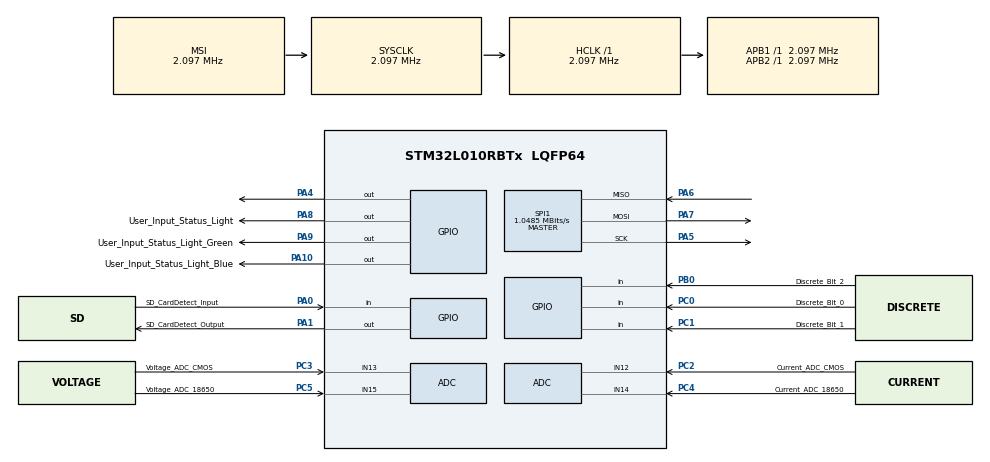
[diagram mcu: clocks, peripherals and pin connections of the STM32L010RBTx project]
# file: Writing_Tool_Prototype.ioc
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ADC.ClockPrescaler=ADC_CLOCK_SYNC_PCLK_DIV4
FATFS._MAX_SS=4096
FATFS._USE_LFN=1
Mcu.Family=STM32L0
Mcu.Name=STM32L010RBTx
Mcu.Package=LQFP64
PA0.GPIO_Label=SD_CardDetect_Input
PA0.Signal=GPIO_Input
PA1.GPIO_Label=SD_CardDetect_Output
PA1.Signal=GPIO_Output
PA10.GPIO_Label=User_Input_Status_Light_Blue
PA10.Signal=GPIO_Output
PA4.Signal=GPIO_Output
PA5.Mode=Full_Duplex_Master
PA5.Signal=SPI1_SCK
PA6.Mode=Full_Duplex_Master
PA6.Signal=SPI1_MISO
PA7.Mode=Full_Duplex_Master
PA7.Signal=SPI1_MOSI
PA8.GPIO_Label=User_Input_Status_Light
PA8.Signal=GPIO_Output
PA9.GPIO_Label=User_Input_Status_Light_Green
PA9.Signal=GPIO_Output
PB0.GPIO_Label=Discrete_Bit_2
PB0.Signal=GPIO_Input
PC0.GPIO_Label=Discrete_Bit_0
PC0.Signal=GPIO_Input
PC1.GPIO_Label=Discrete_Bit_1
PC1.Signal=GPIO_Input
PC2.GPIO_Label=Current_ADC_CMOS
PC2.Mode=IN12
PC2.Signal=ADC_IN12
PC3.GPIO_Label=Voltage_ADC_CMOS
PC3.Mode=IN13
PC3.Signal=ADC_IN13
PC4.GPIO_Label=Current_ADC_18650
PC4.Mode=IN14
PC4.Signal=ADC_IN14
PC5.GPIO_Label=Voltage_ADC_18650
PC5.Mode=IN15
PC5.Signal=ADC_IN15
ProjectManager.HeapSize=0x200
ProjectManager.StackSize=0x400
ProjectManager.TargetToolchain=STM32CubeIDE
RCC.AHBFreq_Value=2097000
RCC.APB1Freq_Value=2097000
RCC.APB1TimFreq_Value=2097000
RCC.APB2Freq_Value=2097000
RCC.APB2TimFreq_Value=2097000
RCC.HSE_VALUE=8000000
RCC.HSI16_VALUE=16000000
RCC.HSI_VALUE=16000000
RCC.LSE_VALUE=32768
RCC.MSI_VALUE=2097000
RCC.SYSCLKFreq_VALUE=2097000
RCC.VCOOutputFreq_Value=48000000
SPI1.CalculateBaudRate=1.0485 MBits/s
SPI1.Direction=SPI_DIRECTION_2LINES
SPI1.Mode=SPI_MODE_MASTER
SPI1.VirtualType=VM_MASTER
VP_FATFS_VS_Generic.Mode=User_defined
board=custom

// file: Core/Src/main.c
/* USER CODE BEGIN Header */
/**
  ******************************************************************************
  * @file           : main.c
  * @brief          : Main program body
  ******************************************************************************
  * @attention
  *
  * Copyright (c) 2023 STMicroelectronics.
  * All rights reserved.
  *
  * This software is licensed under terms that can be found in the LICENSE file
  * in the root directory of this software component.
  * If no LICENSE file comes with this software, it is provided AS-IS.
  *
  ******************************************************************************
  */
/* USER CODE END Header */
#include "main.h"
#include "fatfs.h"

/* USER CODE BEGIN Includes */
#include <stdio.h>
#include <string.h>
#include <stdbool.h>
/* USER CODE END Includes */

ADC_HandleTypeDef hadc;

SPI_HandleTypeDef hspi1;

void SystemClock_Config(void);
static void MX_GPIO_Init(void);
static void MX_SPI1_Init(void);
static void MX_ADC_Init(void);
/* USER CODE BEGIN PFP */
float Calculate_Continuous_Average(float sum_voltages, int number_of_voltages);
float Measurement_of_ADC_Voltage_18650();
float Measurement_of_ADC_Voltage_CMOS();
void Measurement_of_ADC_Current_CMOS();
void Measurement_of_ADC_Current_18650();
//void Continuous_Same_State_Average();
void process_SD_card(void);
void ADC_Select_Voltage18650(void);
void ADC_Select_VoltageCMOS(void);
void ADC_Select_Current18650(void);
void ADC_Select_CurrentCMOS(void);
void readNumber();

float V_18650 = 0.0f;
float V_CMOS = 0.0f;
float V_50gain= 0.0f;
float V_25gain = 0.0f;
float C_CMOS = 0.0f;
float C_18650 = 0.0f;
float Continuous_Average = 0.0f;
int i,j;
unsigned int Switch_State = 0;
float seconds_since_start = 0.0f;
uint32_t start_time_ms = 0;
float valueToAdjust = 0; // Integer value to be adjusted
int current_State = 0;
int previous_State = 0;

/* USER CODE END PFP */

/* USER CODE BEGIN 0 */
//typedef enum { State_CMOS, State_18650 } StateMachine; //State 0 = State_CMOS State 1 = State_18650
//StateMachine state = State_CMOS;
/* USER CODE END 0 */

int main(void)
{

  /* MCU Configuration--------------------------------------------------------*/

  /* Reset of all peripherals, Initializes the Flash interface and the Systick. */
  HAL_Init();

  /* Configure the system clock */
  SystemClock_Config();

  /* Initialize all configured peripherals */
  MX_GPIO_Init();
  MX_SPI1_Init();
  MX_FATFS_Init();
  MX_ADC_Init();
  /* USER CODE BEGIN 2 */
  start_time_ms = HAL_GetTick();
  /* USER CODE END 2 */

  /* Infinite loop */
  /* USER CODE BEGIN WHILE */
  while (1)
  {

	  if (HAL_GPIO_ReadPin(SD_CardDetect_Input_GPIO_Port, SD_CardDetect_Input_Pin) == GPIO_PIN_SET)
	 		  {
	 			  HAL_GPIO_WritePin(SD_CardDetect_Output_GPIO_Port, SD_CardDetect_Output_Pin, GPIO_PIN_SET);
	 			  uint32_t current_time_ms = HAL_GetTick();
	 			  seconds_since_start = (current_time_ms - start_time_ms) / 1000.0f;
	 			  process_SD_card();

//	 			 if (HAL_GPIO_ReadPin(GPIOC, Discrete_Bit_0_Pin))
//	 			 		{
//	 			 			HAL_GPIO_WritePin(User_Input_Status_Light_GPIO_Port, User_Input_Status_Light_Pin, GPIO_PIN_SET);
//	 			 		}
	 			readNumber();
//	 			if (valueToAdjust == 7)
//	 			{
//	 				//HAL_GPIO_WritePin(User_Input_Status_Light_GPIO_Port, User_Input_Status_Light_Pin, GPIO_PIN_SET);
//	 			}
//	 			else if(valueToAdjust != 20)
//	 			HAL_GPIO_WritePin(User_Input_Status_Light_GPIO_Port, User_Input_Status_Light_Pin, GPIO_PIN_RESET);
	 		  }
	 		  else
	 		  {
	 			  HAL_GPIO_WritePin(SD_CardDetect_Output_GPIO_Port, SD_CardDetect_Output_Pin, GPIO_PIN_RESET);

	 	  }
//	  if (state == State_CMOS) {
//	 	              // if(Voltage_Current_Read)
//	 		  	 	 if(C_CMOS >= 0.03) //threshold
//	 		  	 		 state = State_18650;  // 18650 Mode >= 20mA //1
//	 	          } else if(state == State_18650){
//	 	        	  if(C_18650 <= .01) //threshold
//	 	              state = State_CMOS;  // Cmos Mode > //2
//	 	          }
//
//	 	  else {
////	 		  HAL_GPIO_WritePin(SD_CardDetect_Output_GPIO_Port, SD_CardDetect_Output_Pin, GPIO_PIN_RESET);
////	 		  HAL_GPIO_WritePin(Load_Switch_18650_GPIO_Port, Load_Switch_18650_Pin, GPIO_PIN_RESET);
////	 		  HAL_GPIO_WritePin(Load_Switch_CMOS_GPIO_Port, Load_Switch_CMOS_Pin, GPIO_PIN_RESET);
////	 		  Error_Handler();
//
//	 	  }
//	 	  switch (state) {
//	 	              case State_CMOS: {  //0
//	 	            	  Switch_State = 0;
//	 	                  break;
//	 	              }
//	 	              case State_18650: { //1
//	 	            	  Switch_State = 1;
//	 	                  break;
//	 	              }
//	 	          }

    /* USER CODE END WHILE */

  }
}

void SystemClock_Config(void)
{
  RCC_OscInitTypeDef RCC_OscInitStruct = {0};
  RCC_ClkInitTypeDef RCC_ClkInitStruct = {0};

  /** Configure the main internal regulator output voltage
  */
  __HAL_PWR_VOLTAGESCALING_CONFIG(PWR_REGULATOR_VOLTAGE_SCALE1);

  /** Initializes the RCC Oscillators according to the specified parameters
  * in the RCC_OscInitTypeDef structure.
  */
  RCC_OscInitStruct.OscillatorType = RCC_OSCILLATORTYPE_MSI;
  RCC_OscInitStruct.MSIState = RCC_MSI_ON;
  RCC_OscInitStruct.MSICalibrationValue = 0;
  RCC_OscInitStruct.MSIClockRange = RCC_MSIRANGE_5;
  RCC_OscInitStruct.PLL.PLLState = RCC_PLL_NONE;
  if (HAL_RCC_OscConfig(&RCC_OscInitStruct) != HAL_OK)
  {
    Error_Handler();
  }

  /** Initializes the CPU, AHB and APB buses clocks
  */
  RCC_ClkInitStruct.ClockType = RCC_CLOCKTYPE_HCLK|RCC_CLOCKTYPE_SYSCLK
                              |RCC_CLOCKTYPE_PCLK1|RCC_CLOCKTYPE_PCLK2;
  RCC_ClkInitStruct.SYSCLKSource = RCC_SYSCLKSOURCE_MSI;
  RCC_ClkInitStruct.AHBCLKDivider = RCC_SYSCLK_DIV1;
  RCC_ClkInitStruct.APB1CLKDivider = RCC_HCLK_DIV1;
  RCC_ClkInitStruct.APB2CLKDivider = RCC_HCLK_DIV1;

  if (HAL_RCC_ClockConfig(&RCC_ClkInitStruct, FLASH_LATENCY_0) != HAL_OK)
  {
    Error_Handler();
  }
}

static void MX_ADC_Init(void)
{

  ADC_ChannelConfTypeDef sConfig = {0};

  /** Configure the global features of the ADC (Clock, Resolution, Data Alignment and number of conversion)
  */
  hadc.Instance = ADC1;
  hadc.Init.OversamplingMode = DISABLE;
  hadc.Init.ClockPrescaler = ADC_CLOCK_SYNC_PCLK_DIV4;
  hadc.Init.Resolution = ADC_RESOLUTION_12B;
  hadc.Init.SamplingTime = ADC_SAMPLETIME_1CYCLE_5;
  hadc.Init.ScanConvMode = ADC_SCAN_DIRECTION_FORWARD;
  hadc.Init.DataAlign = ADC_DATAALIGN_RIGHT;
  hadc.Init.ContinuousConvMode = DISABLE;
  hadc.Init.DiscontinuousConvMode = DISABLE;
  hadc.Init.ExternalTrigConvEdge = ADC_EXTERNALTRIGCONVEDGE_NONE;
  hadc.Init.ExternalTrigConv = ADC_SOFTWARE_START;
  hadc.Init.DMAContinuousRequests = DISABLE;
  hadc.Init.EOCSelection = ADC_EOC_SINGLE_CONV;
  hadc.Init.Overrun = ADC_OVR_DATA_PRESERVED;
  hadc.Init.LowPowerAutoWait = DISABLE;
  hadc.Init.LowPowerFrequencyMode = ENABLE;
  hadc.Init.LowPowerAutoPowerOff = DISABLE;
  if (HAL_ADC_Init(&hadc) != HAL_OK)
  {
    Error_Handler();
  }

  /** Configure for the selected ADC regular channel to be converted.
  */
  sConfig.Channel = ADC_CHANNEL_12;
  sConfig.Rank = ADC_RANK_CHANNEL_NUMBER;
  if (HAL_ADC_ConfigChannel(&hadc, &sConfig) != HAL_OK)
  {
    Error_Handler();
  }

  /** Configure for the selected ADC regular channel to be converted.
  */
  sConfig.Channel = ADC_CHANNEL_13;
  if (HAL_ADC_ConfigChannel(&hadc, &sConfig) != HAL_OK)
  {
    Error_Handler();
  }

  /** Configure for the selected ADC regular channel to be converted.
  */
  sConfig.Channel = ADC_CHANNEL_14;
  if (HAL_ADC_ConfigChannel(&hadc, &sConfig) != HAL_OK)
  {
    Error_Handler();
  }

  /** Configure for the selected ADC regular channel to be converted.
  */
  sConfig.Channel = ADC_CHANNEL_15;
  if (HAL_ADC_ConfigChannel(&hadc, &sConfig) != HAL_OK)
  {
    Error_Handler();
  }

}

static void MX_SPI1_Init(void)
{

  /* SPI1 parameter configuration*/
  hspi1.Instance = SPI1;
  hspi1.Init.Mode = SPI_MODE_MASTER;
  hspi1.Init.Direction = SPI_DIRECTION_2LINES;
  hspi1.Init.DataSize = SPI_DATASIZE_8BIT;
  hspi1.Init.CLKPolarity = SPI_POLARITY_LOW;
  hspi1.Init.CLKPhase = SPI_PHASE_1EDGE;
  hspi1.Init.NSS = SPI_NSS_SOFT;
  hspi1.Init.BaudRatePrescaler = SPI_BAUDRATEPRESCALER_2;
  hspi1.Init.FirstBit = SPI_FIRSTBIT_MSB;
  hspi1.Init.TIMode = SPI_TIMODE_DISABLE;
  hspi1.Init.CRCCalculation = SPI_CRCCALCULATION_DISABLE;
  hspi1.Init.CRCPolynomial = 7;
  if (HAL_SPI_Init(&hspi1) != HAL_OK)
  {
    Error_Handler();
  }

}

static void MX_GPIO_Init(void)
{
  GPIO_InitTypeDef GPIO_InitStruct = {0};

  /* GPIO Ports Clock Enable */
  __HAL_RCC_GPIOC_CLK_ENABLE();
  __HAL_RCC_GPIOA_CLK_ENABLE();
  __HAL_RCC_GPIOB_CLK_ENABLE();

  /*Configure GPIO pin Output Level */
  HAL_GPIO_WritePin(GPIOA, SD_CardDetect_Output_Pin|GPIO_PIN_4|User_Input_Status_Light_Pin|User_Input_Status_Light_Green_Pin
                          |User_Input_Status_Light_Blue_Pin, GPIO_PIN_RESET);

  /*Configure GPIO pins : Discrete_Bit_0_Pin Discrete_Bit_1_Pin */
  GPIO_InitStruct.Pin = Discrete_Bit_0_Pin|Discrete_Bit_1_Pin;
  GPIO_InitStruct.Mode = GPIO_MODE_INPUT;
  GPIO_InitStruct.Pull = GPIO_NOPULL;
  HAL_GPIO_Init(GPIOC, &GPIO_InitStruct);

  /*Configure GPIO pin : SD_CardDetect_Input_Pin */
  GPIO_InitStruct.Pin = SD_CardDetect_Input_Pin;
  GPIO_InitStruct.Mode = GPIO_MODE_INPUT;
  GPIO_InitStruct.Pull = GPIO_NOPULL;
  HAL_GPIO_Init(SD_CardDetect_Input_GPIO_Port, &GPIO_InitStruct);

  /*Configure GPIO pins : SD_CardDetect_Output_Pin PA4 User_Input_Status_Light_Pin User_Input_Status_Light_Green_Pin
                           User_Input_Status_Light_Blue_Pin */
  GPIO_InitStruct.Pin = SD_CardDetect_Output_Pin|GPIO_PIN_4|User_Input_Status_Light_Pin|User_Input_Status_Light_Green_Pin
                          |User_Input_Status_Light_Blue_Pin;
  GPIO_InitStruct.Mode = GPIO_MODE_OUTPUT_PP;
  GPIO_InitStruct.Pull = GPIO_NOPULL;
  GPIO_InitStruct.Speed = GPIO_SPEED_FREQ_LOW;
  HAL_GPIO_Init(GPIOA, &GPIO_InitStruct);

  /*Configure GPIO pin : Discrete_Bit_2_Pin */
  GPIO_InitStruct.Pin = Discrete_Bit_2_Pin;
  GPIO_InitStruct.Mode = GPIO_MODE_INPUT;
  GPIO_InitStruct.Pull = GPIO_NOPULL;
  HAL_GPIO_Init(Discrete_Bit_2_GPIO_Port, &GPIO_InitStruct);

}

/* USER CODE BEGIN 4 */
#ifdef __GNUC__
  /* With GCC, small printf (option LD Linker->Libraries->Small printf
     set to 'Yes') calls __io_putchar() */
int __io_putchar(int ch)
#else
int fputc(int ch, FILE *f)
#endif /* __GNUC__ */
{
  /* Place your implementation of fputc here */
  /* e.g. write a character to the UART3 and Loop until the end of transmission */
  //HAL_UART_Transmit(&huart2, (uint8_t *)&ch, 1, HAL_MAX_DELAY);
  return ch;
}

void process_SD_card( void )
{
  FATFS       FatFs;                //Fatfs handle
  FIL         fil;                  //File handle
  FRESULT     fres;                 //Result after operations

//Testing Buff Sizes are maybe larger than they need to be currently *CHANGE LATER*
  char buf[1];
  char res_18650[7];
  char res_C18650[7];
  char res_CCMOS[9];
  char res_CMOS[7];
  char res_time[32];
  char res_SwitchState[7];

  do
  {
    //Mount the SD Card
    fres = f_mount(&FatFs, "", 1);    //1=mount now
    if (fres != FR_OK)
    {
      //printf("No SD Card found : (%i)\r\n", fres);
      break;
    }
    //Open the file
    fres = f_open(&fil, "TestingReadings.csv", FA_WRITE | FA_READ | FA_OPEN_APPEND);
    if(fres != FR_OK)
    {
      //printf("File creation/open Error : (%i)\r\n", fres);
      break;
    }
    //printf("Writing data!!!\r\n");
    //write the data

    //Write the Time for each write
    sprintf(res_time,"%.3f,", valueToAdjust); //Position A //seconds since start, changed for testing
    f_puts(res_time, &fil);

    //Write the 18650 Voltage Readings
    sprintf(res_18650, "%.3f,", Continuous_Average); //Position B
    f_puts(res_18650, &fil);

    //Write the 18650 Current Readings
    sprintf(res_C18650, "%.3f,", C_18650); //Position C
    f_puts(res_C18650, &fil);

    //Write the CMOS Voltage Readings
    sprintf(res_CMOS, "%.3f,", V_CMOS); //Position D
    f_puts(res_CMOS,&fil);

    //Write the CMOS Current Readings
    sprintf(res_CCMOS, "%.3f,", C_CMOS); //Position E
    f_puts(res_CCMOS, &fil);

    //Writes the Switch State, 0 = State_CMOS / 1 = State_18650
    sprintf(res_SwitchState,"%u, \n", Switch_State); //Position F
    f_puts(res_SwitchState, &fil);

    //close your file
    f_close(&fil);
    //Open the file
    //read the data
    f_gets(buf, sizeof(buf), &fil);
    //printf("Read Data : %s\n", buf);
    //close your file
    f_close(&fil);
    //printf("Closing File!!!\r\n");
#if 0
    //Delete the file.
    fres = f_unlink(Readings.txt);
    if (fres != FR_OK)
    {
      //printf("Cannot able to delete the file\n");
    }
#endif
  } while(0);
  //We're done, so de-mount the drive
  f_mount(NULL, "", 0);
}

float Measurement_of_ADC_Voltage_18650(){
	float V_ref = 3.3;  // This is known for each micro controller from data
		// sheet, V_ref = power supply in
		float ADC_resolution = (4096 - 1);  // 2^12 - 1
		float V_stepSize = V_ref / ADC_resolution;
		// ADC
	    /* Start ADC Conversion for ADC1 */
	    ADC_Select_Voltage18650();
	    HAL_ADC_Start(&hadc);
	    uint16_t rawValue1;
	       if (HAL_ADC_PollForConversion(&hadc, HAL_MAX_DELAY) == HAL_OK) {
	           /* Read the ADC1 value */
	           rawValue1 = HAL_ADC_GetValue(&hadc);
	       }
	    HAL_ADC_Stop(&hadc);
	    return V_18650 = rawValue1 * V_stepSize;
}
float Measurement_of_ADC_Voltage_CMOS(){
	float V_ref = 3.3;  // This is known for each micro controller from data
		// sheet, V_ref = power supply in
		float ADC_resolution = (4096 - 1);  // 2^12 - 1
		float V_stepSize = V_ref / ADC_resolution;
		// ADC
	    /* Start ADC Conversion for ADC1 */
	    ADC_Select_VoltageCMOS();
	    HAL_ADC_Start(&hadc);
	    uint16_t rawValue1;
	       if (HAL_ADC_PollForConversion(&hadc, HAL_MAX_DELAY) == HAL_OK) {
	           /* Read the ADC1 value */
	           rawValue1 = HAL_ADC_GetValue(&hadc);
	       }
	    HAL_ADC_Stop(&hadc);
	    return V_CMOS = rawValue1 * V_stepSize;
}

void Measurement_of_ADC_Current_18650(){
	float V_ref = 3.3;  // This is known for each micro controller from data
		// sheet, V_ref = power supply in
		float ADC_resolution = (4096 - 1);  // 2^12 - 1
		float V_stepSize = V_ref / ADC_resolution;
		// ADC
	    /* Start ADC Conversion for ADC1 */
	    ADC_Select_Voltage18650();
	    HAL_ADC_Start(&hadc);
	    uint16_t rawValue1;
	       if (HAL_ADC_PollForConversion(&hadc, HAL_MAX_DELAY) == HAL_OK) {
	           /* Read the ADC1 value */
	           rawValue1 = HAL_ADC_GetValue(&hadc);
	           C_18650 = (((rawValue1 * V_stepSize)/50)/.0299562); //I_load = ((V_ADC / 50 gain) / .03 calibrated shunt)
	       }
	    HAL_ADC_Stop(&hadc);
}

void Measurement_of_ADC_Current_CMOS(){
	float V_ref = 3.3;  // This is known for each micro controller from data
		// sheet, V_ref = power supply in
		float ADC_resolution = (4096 - 1);  // 2^12 - 1
		float V_stepSize = V_ref / ADC_resolution;
		// ADC
	    /* Start ADC Conversion for ADC1 */
	    ADC_Select_Voltage18650();
	    HAL_ADC_Start(&hadc);
	    uint16_t rawValue1;
	       if (HAL_ADC_PollForConversion(&hadc, HAL_MAX_DELAY) == HAL_OK) {
	           /* Read the ADC1 value */
	           rawValue1 = HAL_ADC_GetValue(&hadc);
	           C_CMOS = (((rawValue1 * V_stepSize)/20)/4.713492); // I_load = (( V_ADC / 20 Gain ) / 4.71 calibrated shunt )
	       }
	    HAL_ADC_Stop(&hadc);
}

void ADC_Select_Voltage18650(void){
ADC_ChannelConfTypeDef sConfig = {0};
sConfig.Channel = ADC_CHANNEL_15;
sConfig.Rank = ADC_RANK_CHANNEL_NUMBER;
if (HAL_ADC_ConfigChannel(&hadc, &sConfig) != HAL_OK)
{
  Error_Handler();
}
}

void ADC_Select_VoltageCMOS(void){
ADC_ChannelConfTypeDef sConfig = {0};
sConfig.Channel = ADC_CHANNEL_13;
sConfig.Rank = ADC_RANK_CHANNEL_NUMBER;
if (HAL_ADC_ConfigChannel(&hadc, &sConfig) != HAL_OK)
{
Error_Handler();
}

}

void ADC_Select_Current18650(void){
ADC_ChannelConfTypeDef sConfig = {0};
sConfig.Channel = ADC_CHANNEL_14;
sConfig.Rank = ADC_RANK_CHANNEL_NUMBER;
if (HAL_ADC_ConfigChannel(&hadc, &sConfig) != HAL_OK)
{
	    Error_Handler();
}
}

void ADC_Select_CurrentCMOS(void){
ADC_ChannelConfTypeDef sConfig = {0};
sConfig.Channel = ADC_CHANNEL_12;
sConfig.Rank = ADC_RANK_CHANNEL_NUMBER;
if (HAL_ADC_ConfigChannel(&hadc, &sConfig) != HAL_OK)
{
Error_Handler();
}

}

void readNumber() {

	if (HAL_GPIO_ReadPin(GPIOC, Discrete_Bit_0_Pin) == 1 &&
		HAL_GPIO_ReadPin(GPIOC, Discrete_Bit_1_Pin) == 0 &&
		HAL_GPIO_ReadPin(GPIOB, Discrete_Bit_2_Pin) == 0 ) {
		HAL_Delay(5);
		valueToAdjust = 1;
		// Set Red
		HAL_GPIO_WritePin(User_Input_Status_Light_GPIO_Port, User_Input_Status_Light_Pin, GPIO_PIN_SET);
		HAL_GPIO_WritePin(User_Input_Status_Light_Green_GPIO_Port, User_Input_Status_Light_Green_Pin, GPIO_PIN_RESET);
		HAL_GPIO_WritePin(User_Input_Status_Light_Blue_GPIO_Port, User_Input_Status_Light_Blue_Pin, GPIO_PIN_RESET);

	}
	if (HAL_GPIO_ReadPin(GPIOC, Discrete_Bit_0_Pin) == 0 &&
		HAL_GPIO_ReadPin(GPIOC, Discrete_Bit_1_Pin) == 1 &&
		HAL_GPIO_ReadPin(GPIOB, Discrete_Bit_2_Pin) == 0 ) {
		HAL_Delay(5);
		valueToAdjust = 2;
		// Set Yellow
		HAL_GPIO_WritePin(User_Input_Status_Light_GPIO_Port, User_Input_Status_Light_Pin, GPIO_PIN_SET);
		HAL_GPIO_WritePin(User_Input_Status_Light_Green_GPIO_Port, User_Input_Status_Light_Green_Pin, GPIO_PIN_SET);
		HAL_GPIO_WritePin(User_Input_Status_Light_Blue_GPIO_Port, User_Input_Status_Light_Blue_Pin, GPIO_PIN_RESET);

	}
	if (HAL_GPIO_ReadPin(GPIOC, Discrete_Bit_0_Pin) == 1 &&
			HAL_GPIO_ReadPin(GPIOC, Discrete_Bit_1_Pin) == 1 &&
			HAL_GPIO_ReadPin(GPIOB, Discrete_Bit_2_Pin) == 0 ) {
			HAL_Delay(5);
			valueToAdjust = 3;
			// Set Green
			HAL_GPIO_WritePin(User_Input_Status_Light_GPIO_Port, User_Input_Status_Light_Pin, GPIO_PIN_RESET);
			HAL_GPIO_WritePin(User_Input_Status_Light_Green_GPIO_Port, User_Input_Status_Light_Green_Pin, GPIO_PIN_SET);
			HAL_GPIO_WritePin(User_Input_Status_Light_Blue_GPIO_Port, User_Input_Status_Light_Blue_Pin, GPIO_PIN_RESET);

		}
	if (HAL_GPIO_ReadPin(GPIOC, Discrete_Bit_0_Pin) == 0 &&
			HAL_GPIO_ReadPin(GPIOC, Discrete_Bit_1_Pin) == 0 &&
			HAL_GPIO_ReadPin(GPIOB, Discrete_Bit_2_Pin) == 1 ) {
			HAL_Delay(5);
			valueToAdjust = 4;
			// Set Cyan
			HAL_GPIO_WritePin(User_Input_Status_Light_GPIO_Port, User_Input_Status_Light_Pin, GPIO_PIN_RESET);
			HAL_GPIO_WritePin(User_Input_Status_Light_Green_GPIO_Port, User_Input_Status_Light_Green_Pin, GPIO_PIN_SET);
			HAL_GPIO_WritePin(User_Input_Status_Light_Blue_GPIO_Port, User_Input_Status_Light_Blue_Pin, GPIO_PIN_SET);

		}
	if (HAL_GPIO_ReadPin(GPIOC, Discrete_Bit_0_Pin) == 1 &&
			HAL_GPIO_ReadPin(GPIOC, Discrete_Bit_1_Pin) == 0 &&
			HAL_GPIO_ReadPin(GPIOB, Discrete_Bit_2_Pin) == 1 ) {
			HAL_Delay(5);
			valueToAdjust = 5;
			// Set Blue
			HAL_GPIO_WritePin(User_Input_Status_Light_GPIO_Port, User_Input_Status_Light_Pin, GPIO_PIN_RESET);
			HAL_GPIO_WritePin(User_Input_Status_Light_Green_GPIO_Port, User_Input_Status_Light_Green_Pin, GPIO_PIN_RESET);
			HAL_GPIO_WritePin(User_Input_Status_Light_Blue_GPIO_Port, User_Input_Status_Light_Blue_Pin, GPIO_PIN_SET);

		}
	if (HAL_GPIO_ReadPin(GPIOC, Discrete_Bit_0_Pin) == 0 &&
			HAL_GPIO_ReadPin(GPIOC, Discrete_Bit_1_Pin) == 1 &&
			HAL_GPIO_ReadPin(GPIOB, Discrete_Bit_2_Pin) == 1 ) {
			HAL_Delay(5);
			valueToAdjust = 6;
			// Set Magenta
			HAL_GPIO_WritePin(User_Input_Status_Light_GPIO_Port, User_Input_Status_Light_Pin, GPIO_PIN_SET);
			HAL_GPIO_WritePin(User_Input_Status_Light_Green_GPIO_Port, User_Input_Status_Light_Green_Pin, GPIO_PIN_RESET);
			HAL_GPIO_WritePin(User_Input_Status_Light_Blue_GPIO_Port, User_Input_Status_Light_Blue_Pin, GPIO_PIN_SET);

		}
	if (HAL_GPIO_ReadPin(GPIOC, Discrete_Bit_0_Pin) == 1 &&
			HAL_GPIO_ReadPin(GPIOC, Discrete_Bit_1_Pin) == 1 &&
			HAL_GPIO_ReadPin(GPIOB, Discrete_Bit_2_Pin) == 1 ) {
			HAL_Delay(5);
			valueToAdjust = 7;
			// Set White
			HAL_GPIO_WritePin(User_Input_Status_Light_GPIO_Port, User_Input_Status_Light_Pin, GPIO_PIN_SET);
			HAL_GPIO_WritePin(User_Input_Status_Light_Green_GPIO_Port, User_Input_Status_Light_Green_Pin, GPIO_PIN_SET);
			HAL_GPIO_WritePin(User_Input_Status_Light_Blue_GPIO_Port, User_Input_Status_Light_Blue_Pin, GPIO_PIN_SET);

		}

}

//void Continuous_Same_State_Average() {
//float test_voltages[] = {1.4, 1.41, 1.42, 1.43, 1.44, 1.45, 1.46, 1.47, 1.48, 1.49, 1.5};
//float voltage_sum = 0;
//int x = 0;
//
//int array_length = sizeof(test_voltages) / sizeof(test_voltages[0]);
//for (i = 0; i < array_length; i++) {
//    voltage_sum += test_voltages[i];
//    x++;
//}
//
//Continuous_Average = Calculate_Continuous_Average(voltage_sum, x);
//}
//
//float Calculate_Continuous_Average(float sum_voltages, int number_of_voltages){
//	return sum_voltages/number_of_voltages;
//}

//		if((current_State != previous_State) || ((current_State && previous_State) == 0)){
//			// First, check if any of the pins are set
//				    if(HAL_GPIO_ReadPin(GPIOC, Discrete_Bit_0_Pin) ||
//				       HAL_GPIO_ReadPin(GPIOC, Discrete_Bit_1_Pin) ||
//				       HAL_GPIO_ReadPin(GPIOB, Discrete_Bit_2_Pin)) {
//				    	// Check each combination of pins and set valueToAdjust accordingly
//				    		     if (HAL_GPIO_ReadPin(GPIOC, Discrete_Bit_0_Pin) &&
//				    		        !HAL_GPIO_ReadPin(GPIOC, Discrete_Bit_1_Pin) &&
//				    		        !HAL_GPIO_ReadPin(GPIOB, Discrete_Bit_2_Pin)) {
//				    		        HAL_Delay(5);
//				    		        valueToAdjust = 1;
//				    		        current_State = 1;
//				    		    }
//				    		     if (!HAL_GPIO_ReadPin(GPIOC, Discrete_Bit_0_Pin) &&
//				    		               HAL_GPIO_ReadPin(GPIOC, Discrete_Bit_1_Pin) &&
//				    		               !HAL_GPIO_ReadPin(GPIOB, Discrete_Bit_2_Pin)) {
//				    		        HAL_Delay(5);
//				    		        valueToAdjust = 2;
//				    		        current_State = 2;
//
//				    		    }  if (HAL_GPIO_ReadPin(GPIOC, Discrete_Bit_0_Pin) &&
//				    		               HAL_GPIO_ReadPin(GPIOC, Discrete_Bit_1_Pin) &&
//				    		               !HAL_GPIO_ReadPin(GPIOB, Discrete_Bit_2_Pin)) {
//				    		        HAL_Delay(5);
//				    		        valueToAdjust = 3;
//				    		        current_State = 3;
//				    		    }  if (!HAL_GPIO_ReadPin(GPIOC, Discrete_Bit_0_Pin) &&
//				    		               !HAL_GPIO_ReadPin(GPIOC, Discrete_Bit_1_Pin) &&
//				    		               HAL_GPIO_ReadPin(GPIOB, Discrete_Bit_2_Pin)) {
//				    		        HAL_Delay(5);
//				    		        valueToAdjust = 4;
//				    		        current_State = 4;
//				    		    }  if (HAL_GPIO_ReadPin(GPIOC, Discrete_Bit_0_Pin) &&
//				    		               !HAL_GPIO_ReadPin(GPIOC, Discrete_Bit_1_Pin) &&
//				    		               HAL_GPIO_ReadPin(GPIOB, Discrete_Bit_2_Pin)) {
//				    		        HAL_Delay(5);
//				    		        valueToAdjust = 5;
//				    		        current_State = 5;
//				    		    }  if (!HAL_GPIO_ReadPin(GPIOC, Discrete_Bit_0_Pin) &&
//				    		               HAL_GPIO_ReadPin(GPIOC, Discrete_Bit_1_Pin) &&
//				    		               HAL_GPIO_ReadPin(GPIOB, Discrete_Bit_2_Pin)) {
//				    		        HAL_Delay(5);
//				    		        valueToAdjust = 6;
//				    		        current_State = 6;
//				    		    }  if (HAL_GPIO_ReadPin(GPIOC, Discrete_Bit_0_Pin) &&
//				    		               HAL_GPIO_ReadPin(GPIOC, Discrete_Bit_1_Pin) &&
//				    		               HAL_GPIO_ReadPin(GPIOB, Discrete_Bit_2_Pin)) {
//				    		        HAL_Delay(5);
//				    		        valueToAdjust = 7;
//				    		        current_State = 7;
//				    		    }
//				    }
//				    previous_State = current_State;
//
//		}

/* USER CODE END 4 */

void Error_Handler(void)
{
  __disable_irq();
  while (1)
  {
  }
}
